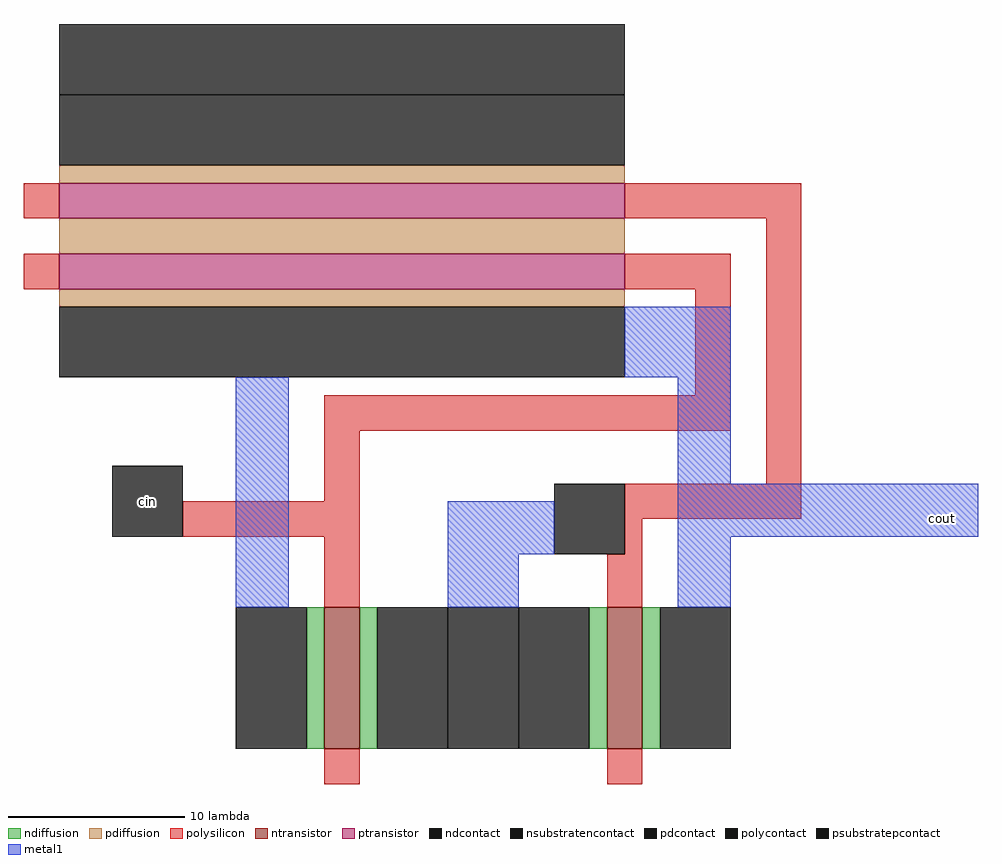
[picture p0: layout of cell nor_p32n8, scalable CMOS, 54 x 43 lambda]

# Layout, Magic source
magic
tech scmos
<< polysilicon >>
rect -16 23 -14 25
rect 18 23 28 25
rect -16 19 -14 21
rect 18 19 24 21
rect 22 13 24 19
rect 1 11 24 13
rect 1 7 3 11
rect 26 8 28 23
rect -7 5 3 7
rect 1 1 3 5
rect 18 6 28 8
rect 18 4 19 6
rect 17 1 19 4
rect 1 -9 3 -7
rect 17 -9 19 -7
<< ndiffusion >>
rect 0 -7 1 1
rect 3 -7 4 1
rect 16 -7 17 1
rect 19 -7 20 1
<< pdiffusion >>
rect -14 25 18 26
rect -14 21 18 23
rect -14 18 18 19
<< metal1 >>
rect 18 14 24 18
rect -4 1 -1 14
rect 21 8 24 14
rect 8 4 14 7
rect 21 5 38 8
rect 8 1 12 4
rect 21 1 24 5
<< ntransistor >>
rect 1 -7 3 1
rect 17 -7 19 1
<< ptransistor >>
rect -14 23 18 25
rect -14 19 18 21
<< polycontact >>
rect -11 5 -7 9
rect 14 4 18 8
<< ndcontact >>
rect -4 -7 0 1
rect 4 -7 8 1
rect 12 -7 16 1
rect 20 -7 24 1
<< pdcontact >>
rect -14 26 18 30
rect -14 14 18 18
<< psubstratepcontact >>
rect 8 -7 12 1
<< nsubstratencontact >>
rect -14 30 18 34
<< labels >>
rlabel polycontact -9 7 -9 7 3 cin
rlabel metal1 36 6 36 6 7 cout
<< end >>
